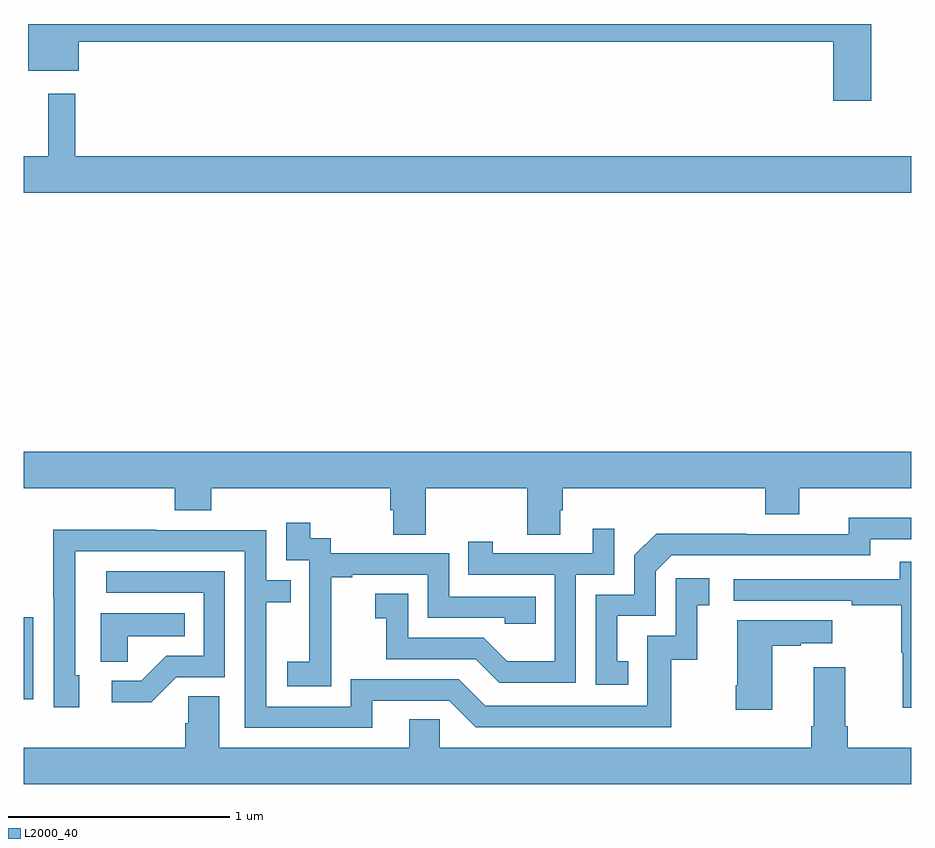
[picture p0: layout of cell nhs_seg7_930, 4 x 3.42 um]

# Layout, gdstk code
import gdstk
lib = gdstk.Library(unit=1e-6, precision=1e-09)
def R(c, l, rs):  # rectangles x0, y0, x1, y1
    for r in rs: c.add(gdstk.rectangle(r[:2], r[2:], *l))
def P(c, l, *ps):  # polygons
    for p in ps: c.add(gdstk.Polygon(p, *l))
L2000_40 = (2000, 40)

nhs_seg7_930 = lib.new_cell('nhs_seg7_930')
R(nhs_seg7_930, L2000_40, [(179,1040.958,179.043,1041.328)])
P(nhs_seg7_930, L2000_40, [(182.818,1044),(179.021,1044),(179.021,1043.789),(179.248,1043.789),(179.248,1043.92),(182.648,1043.92),(182.648,1043.655),(182.818,1043.655)],
  [(183,1043.404),(179.233,1043.404),(179.233,1043.686),(179.111,1043.686),(179.111,1043.404),(179,1043.404),(179,1043.24),(183,1043.24)],
  [(180.813,1041.908),(181.27,1041.908),(181.27,1041.7),(181.417,1041.7),(181.417,1041.81),(181.43,1041.81),(181.43,1041.908),(182.342,1041.908),(182.342,1041.791),(182.494,1041.791),(182.494,1041.908),(183,1041.908),(183,1042.072),(179,1042.072),(179,1041.908),(179.681,1041.908),(179.681,1041.809),(179.846,1041.809),(179.846,1041.908),(180.653,1041.908),(180.653,1041.81),(180.665,1041.81),(180.665,1041.7),(180.813,1041.7)],
  [(181.724,1041.129),(181.675,1041.129),(181.675,1041.333),(181.848,1041.333),(181.848,1041.534),(181.92,1041.606),(182.814,1041.606),(182.814,1041.678),(183,1041.678),(183,1041.775),(182.718,1041.775),(182.718,1041.702),(182.258,1041.702),(182.258,1041.704),(181.85,1041.704),(181.752,1041.606),(181.752,1041.429),(181.578,1041.429),(181.578,1041.024),(181.724,1041.024)],
  [(180.387,1041.223),(180.386,1041.223),(180.386,1041.507),(180.481,1041.507),(180.481,1041.519),(180.822,1041.519),(180.822,1041.324),(181.167,1041.324),(181.167,1041.297),(181.307,1041.297),(181.307,1041.42),(180.918,1041.42),(180.918,1041.615),(180.384,1041.615),(180.384,1041.684),(180.292,1041.684),(180.292,1041.754),(180.183,1041.754),(180.183,1041.585),(180.288,1041.585),(180.288,1041.356),(180.287,1041.356),(180.287,1041.127),(180.189,1041.127),(180.189,1041.017),(180.387,1041.017)],
  [(181.488,1041.519),(181.662,1041.519),(181.662,1041.727),(181.565,1041.727),(181.565,1041.615),(181.114,1041.615),(181.114,1041.667),(181.003,1041.667),(181.003,1041.519),(181.392,1041.519),(181.392,1041.13),(181.178,1041.13),(181.074,1041.234),(180.732,1041.234),(180.732,1041.433),(180.585,1041.433),(180.585,1041.323),(180.634,1041.323),(180.634,1041.138),(181.037,1041.138),(181.142,1041.033),(181.488,1041.033)],
  [(180.571,1040.952),(180.918,1040.952),(181.038,1040.832),(181.918,1040.832),(181.918,1041.135),(182.036,1041.135),(182.036,1041.381),(182.089,1041.381),(182.089,1041.502),(181.938,1041.502),(181.938,1041.243),(181.809,1041.243),(181.809,1040.928),(181.08,1040.928),(180.96,1041.048),(180.474,1041.048),(180.474,1040.925),(180.093,1040.925),(180.093,1041.394),(180.203,1041.394),(180.203,1041.495),(180.093,1041.495),(180.093,1041.72),(179.597,1041.72),(179.597,1041.722),(179.134,1041.722),(179.134,1041.415),(179.136,1041.415),(179.136,1040.922),(179.251,1040.922),(179.251,1041.066),(179.232,1041.066),(179.232,1041.624),(179.997,1041.624),(179.997,1040.829),(180.571,1040.829)],
  [(183,1041.577),(182.947,1041.577),(182.947,1041.498),(182.199,1041.498),(182.199,1041.402),(182.731,1041.402),(182.731,1041.382),(182.955,1041.382),(182.955,1041.168),(182.962,1041.168),(182.962,1040.919),(183,1040.919)],
  [(179.688,1041.057),(179.907,1041.057),(179.907,1041.534),(179.373,1041.534),(179.373,1041.438),(179.811,1041.438),(179.811,1041.153),(179.642,1041.153),(179.531,1041.042),(179.397,1041.042),(179.397,1040.945),(179.575,1040.945)],
  [(179.469,1041.242),(179.726,1041.242),(179.726,1041.346),(179.348,1041.346),(179.348,1041.127),(179.469,1041.127)],
  [(182.374,1041.199),(182.501,1041.199),(182.501,1041.209),(182.644,1041.209),(182.644,1041.313),(182.216,1041.313),(182.216,1041.022),(182.209,1041.022),(182.209,1040.91),(182.374,1040.91)],
  [(183,1040.74),(182.714,1040.74),(182.714,1040.836),(182.701,1040.836),(182.701,1041.103),(182.561,1041.103),(182.561,1040.836),(182.549,1040.836),(182.549,1040.74),(180.876,1040.74),(180.876,1040.867),(180.737,1040.867),(180.737,1040.74),(179.881,1040.74),(179.881,1040.972),(179.742,1040.972),(179.742,1040.849),(179.729,1040.849),(179.729,1040.74),(179,1040.74),(179,1040.576),(183,1040.576)])

lib.write_gds('nhs_seg7_930.gds')
